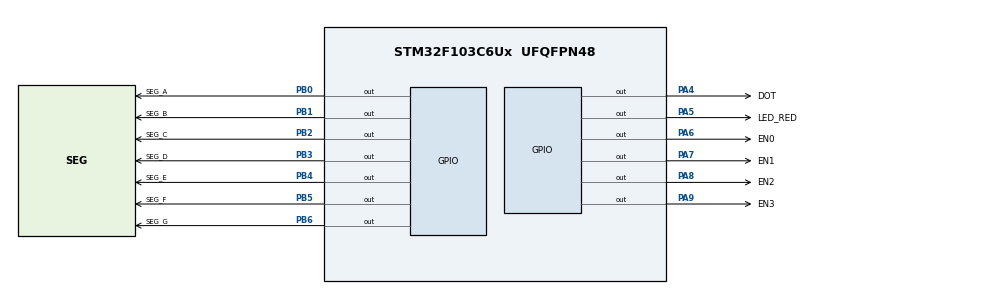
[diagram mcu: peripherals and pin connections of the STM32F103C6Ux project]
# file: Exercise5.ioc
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Mcu.Family=STM32F1
Mcu.Name=STM32F103C6Ux
Mcu.Package=UFQFPN48
NVIC.PriorityGroup=NVIC_PRIORITYGROUP_4
NVIC.TIM2_IRQn=true\:0\:0\:false\:false\:true\:true\:true
PA4.GPIO_Label=DOT
PA4.PinState=GPIO_PIN_SET
PA4.Signal=GPIO_Output
PA5.GPIO_Label=LED_RED
PA5.PinState=GPIO_PIN_SET
PA5.Signal=GPIO_Output
PA6.GPIO_Label=EN0
PA6.PinState=GPIO_PIN_SET
PA6.Signal=GPIO_Output
PA7.GPIO_Label=EN1
PA7.PinState=GPIO_PIN_SET
PA7.Signal=GPIO_Output
PA8.GPIO_Label=EN2
PA8.PinState=GPIO_PIN_SET
PA8.Signal=GPIO_Output
PA9.GPIO_Label=EN3
PA9.PinState=GPIO_PIN_SET
PA9.Signal=GPIO_Output
PB0.GPIO_Label=SEG_A
PB0.PinState=GPIO_PIN_SET
PB0.Signal=GPIO_Output
PB1.GPIO_Label=SEG_B
PB1.PinState=GPIO_PIN_SET
PB1.Signal=GPIO_Output
PB2.GPIO_Label=SEG_C
PB2.PinState=GPIO_PIN_SET
PB2.Signal=GPIO_Output
PB3.GPIO_Label=SEG_D
PB3.PinState=GPIO_PIN_SET
PB3.Signal=GPIO_Output
PB4.GPIO_Label=SEG_E
PB4.PinState=GPIO_PIN_SET
PB4.Signal=GPIO_Output
PB5.GPIO_Label=SEG_F
PB5.PinState=GPIO_PIN_SET
PB5.Signal=GPIO_Output
PB6.GPIO_Label=SEG_G
PB6.PinState=GPIO_PIN_SET
PB6.Signal=GPIO_Output
ProjectManager.HeapSize=0x200
ProjectManager.StackSize=0x400
ProjectManager.TargetToolchain=STM32CubeIDE
RCC.APB1Freq_Value=8000000
RCC.APB2Freq_Value=8000000
TIM2.Period=9
TIM2.Prescaler=7999
VP_SYS_VS_ND.Mode=No_Debug
VP_TIM2_VS_ClockSourceINT.Mode=Internal
board=custom

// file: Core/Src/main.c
/* USER CODE BEGIN Header */
/**
  * @file           : main.c
  * @brief          : Exercise 5 - digital clock
  */
/* USER CODE END Header */
#include "main.h"

TIM_HandleTypeDef htim2;

/* USER CODE BEGIN PV */
const int MAX_LED = 4;
int index_led = 0;
int led_buffer[4] = {1, 2, 3, 4};

int counter = 0;             // dem ngat cho 7SEG
int single_led_counter = 0;  // dem ngat cho DOT

int hour = 15, minute = 8, second = 50;
/* USER CODE END PV */

void SystemClock_Config(void);
static void MX_GPIO_Init(void);
static void MX_TIM2_Init(void);
/* USER CODE BEGIN PFP */
void display7SEG(int num);
void update7SEG(int index);
void updateClockBuffer(void);
/* USER CODE END PFP */

int main(void)
{

  HAL_Init();

  SystemClock_Config();

  MX_GPIO_Init();
  MX_TIM2_Init();
  /* USER CODE BEGIN 2 */
  updateClockBuffer();
  HAL_TIM_Base_Start_IT(&htim2);
  /* USER CODE END 2 */

  while (1)
  {

    /* USER CODE BEGIN 3 */
    second++;
    if (second >= 60) {
        second = 0;
        minute++;
    }
    if (minute >= 60) {
        minute = 0;
        hour++;
    }
    if (hour >= 24) {
        hour = 0;
    }
    updateClockBuffer();
    HAL_Delay(1000);
    /* USER CODE END 3 */
  }
}

void SystemClock_Config(void)
{
  RCC_OscInitTypeDef RCC_OscInitStruct = {0};
  RCC_ClkInitTypeDef RCC_ClkInitStruct = {0};

  RCC_OscInitStruct.OscillatorType = RCC_OSCILLATORTYPE_HSI;
  RCC_OscInitStruct.HSIState = RCC_HSI_ON;
  RCC_OscInitStruct.HSICalibrationValue = RCC_HSICALIBRATION_DEFAULT;
  RCC_OscInitStruct.PLL.PLLState = RCC_PLL_NONE;
  if (HAL_RCC_OscConfig(&RCC_OscInitStruct) != HAL_OK)
  {
    Error_Handler();
  }
  RCC_ClkInitStruct.ClockType = RCC_CLOCKTYPE_HCLK|RCC_CLOCKTYPE_SYSCLK
                              |RCC_CLOCKTYPE_PCLK1|RCC_CLOCKTYPE_PCLK2;
  RCC_ClkInitStruct.SYSCLKSource = RCC_SYSCLKSOURCE_HSI;
  RCC_ClkInitStruct.AHBCLKDivider = RCC_SYSCLK_DIV1;
  RCC_ClkInitStruct.APB1CLKDivider = RCC_HCLK_DIV1;
  RCC_ClkInitStruct.APB2CLKDivider = RCC_HCLK_DIV1;

  if (HAL_RCC_ClockConfig(&RCC_ClkInitStruct, FLASH_LATENCY_0) != HAL_OK)
  {
    Error_Handler();
  }
}

static void MX_TIM2_Init(void)
{
  TIM_ClockConfigTypeDef sClockSourceConfig = {0};
  TIM_MasterConfigTypeDef sMasterConfig = {0};

  htim2.Instance = TIM2;
  htim2.Init.Prescaler = 7999;
  htim2.Init.CounterMode = TIM_COUNTERMODE_UP;
  htim2.Init.Period = 9;
  htim2.Init.ClockDivision = TIM_CLOCKDIVISION_DIV1;
  htim2.Init.AutoReloadPreload = TIM_AUTORELOAD_PRELOAD_DISABLE;
  if (HAL_TIM_Base_Init(&htim2) != HAL_OK)
  {
    Error_Handler();
  }
  sClockSourceConfig.ClockSource = TIM_CLOCKSOURCE_INTERNAL;
  if (HAL_TIM_ConfigClockSource(&htim2, &sClockSourceConfig) != HAL_OK)
  {
    Error_Handler();
  }
  sMasterConfig.MasterOutputTrigger = TIM_TRGO_RESET;
  sMasterConfig.MasterSlaveMode = TIM_MASTERSLAVEMODE_DISABLE;
  if (HAL_TIMEx_MasterConfigSynchronization(&htim2, &sMasterConfig) != HAL_OK)
  {
    Error_Handler();
  }
}

static void MX_GPIO_Init(void)
{
  GPIO_InitTypeDef GPIO_InitStruct = {0};

  __HAL_RCC_GPIOA_CLK_ENABLE();
  __HAL_RCC_GPIOB_CLK_ENABLE();

  HAL_GPIO_WritePin(GPIOA, DOT_Pin|LED_RED_Pin|EN0_Pin|EN1_Pin
                          |EN2_Pin|EN3_Pin, GPIO_PIN_SET);

  HAL_GPIO_WritePin(GPIOB, SEG_A_Pin|SEG_B_Pin|SEG_C_Pin|SEG_D_Pin
                          |SEG_E_Pin|SEG_F_Pin|SEG_G_Pin, GPIO_PIN_SET);

  GPIO_InitStruct.Pin = DOT_Pin|LED_RED_Pin|EN0_Pin|EN1_Pin
                          |EN2_Pin|EN3_Pin;
  GPIO_InitStruct.Mode = GPIO_MODE_OUTPUT_PP;
  GPIO_InitStruct.Pull = GPIO_NOPULL;
  GPIO_InitStruct.Speed = GPIO_SPEED_FREQ_LOW;
  HAL_GPIO_Init(GPIOA, &GPIO_InitStruct);

  GPIO_InitStruct.Pin = SEG_A_Pin|SEG_B_Pin|SEG_C_Pin|SEG_D_Pin
                          |SEG_E_Pin|SEG_F_Pin|SEG_G_Pin;
  GPIO_InitStruct.Mode = GPIO_MODE_OUTPUT_PP;
  GPIO_InitStruct.Pull = GPIO_NOPULL;
  GPIO_InitStruct.Speed = GPIO_SPEED_FREQ_LOW;
  HAL_GPIO_Init(GPIOB, &GPIO_InitStruct);
}

/* USER CODE BEGIN 4 */

// display7SEG tu Lab 1 (common anode: RESET = sang)
void display7SEG(int num)
{
    const uint8_t seg[10][7] = {
        {0,0,0,0,0,0,1}, {1,0,0,1,1,1,1}, {0,0,1,0,0,1,0}, {0,0,0,0,1,1,0},
        {1,0,0,1,1,0,0}, {0,1,0,0,1,0,0}, {0,1,0,0,0,0,0}, {0,0,0,1,1,1,1},
        {0,0,0,0,0,0,0}, {0,0,0,0,1,0,0}
    };
    const uint16_t pins[7] = {SEG_A_Pin, SEG_B_Pin, SEG_C_Pin, SEG_D_Pin,
                              SEG_E_Pin, SEG_F_Pin, SEG_G_Pin};
    for (int i = 0; i < 7; i++) {
        GPIO_PinState s = GPIO_PIN_SET;
        if (num >= 0 && num <= 9) s = seg[num][i] ? GPIO_PIN_SET : GPIO_PIN_RESET;
        HAL_GPIO_WritePin(GPIOB, pins[i], s);
    }
}

void update7SEG(int index)
{
    HAL_GPIO_WritePin(GPIOA, EN0_Pin|EN1_Pin|EN2_Pin|EN3_Pin, GPIO_PIN_SET);
    switch (index) {
        case 0: display7SEG(led_buffer[0]); HAL_GPIO_WritePin(EN0_GPIO_Port, EN0_Pin, GPIO_PIN_RESET); break;
        case 1: display7SEG(led_buffer[1]); HAL_GPIO_WritePin(EN1_GPIO_Port, EN1_Pin, GPIO_PIN_RESET); break;
        case 2: display7SEG(led_buffer[2]); HAL_GPIO_WritePin(EN2_GPIO_Port, EN2_Pin, GPIO_PIN_RESET); break;
        case 3: display7SEG(led_buffer[3]); HAL_GPIO_WritePin(EN3_GPIO_Port, EN3_Pin, GPIO_PIN_RESET); break;
        default: break;
    }
}

// Report 1: updateClockBuffer
void updateClockBuffer(void)
{
    led_buffer[0] = hour / 10;
    led_buffer[1] = hour % 10;
    led_buffer[2] = minute / 10;
    led_buffer[3] = minute % 10;
}

void HAL_TIM_PeriodElapsedCallback(TIM_HandleTypeDef *htim)
{
    if (htim->Instance != TIM2) return;

    // quet 4 LED 7 doan: moi LED 250ms (25 x 10ms)
    counter++;
    if (counter >= 25) {
        counter = 0;
        update7SEG(index_led++);
        if (index_led >= MAX_LED) index_led = 0;
    }

    // DOT nhay moi 1s
    single_led_counter++;
    if (single_led_counter >= 100) {
        single_led_counter = 0;
        HAL_GPIO_TogglePin(DOT_GPIO_Port, DOT_Pin);
    }
}
/* USER CODE END 4 */

void Error_Handler(void)
{
  __disable_irq();
  while (1)
  {
  }
}
